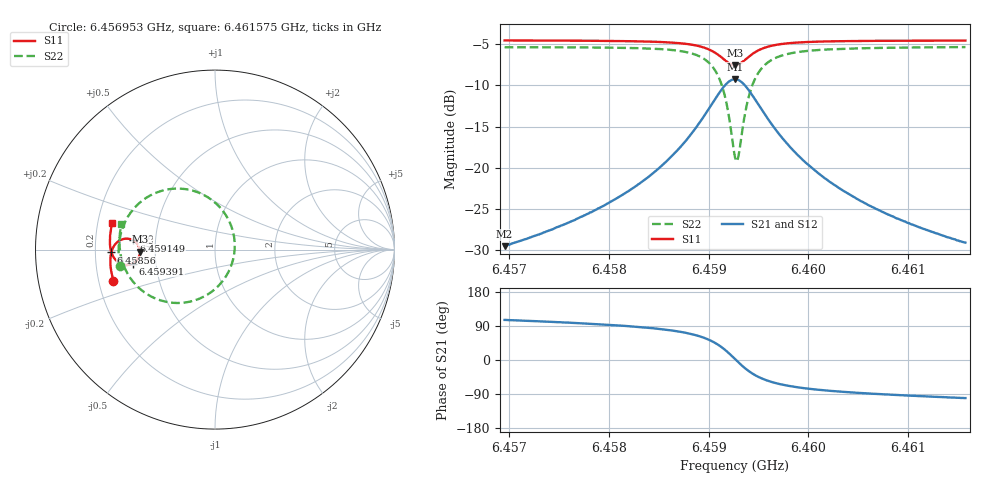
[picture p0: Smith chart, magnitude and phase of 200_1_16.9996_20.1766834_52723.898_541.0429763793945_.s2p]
#  HZ  S  RI  R  50.00
! Rohde & Schwarz Vector Network Analyzer
! Rohde-Schwarz,ZNB20-2Port,1311601062101988,3.16
! Created: UTC 3/20/2024, 11:01:01 PM
! freq[Hz]  re:S11  im:S11  re:S21  im:S21  re:S12  im:S12  re:S22  im:S22
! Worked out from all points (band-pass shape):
!   401 points, 6.456953 GHz to 6.461575 GHz, reference 50 ohm
!   highest |S21| = -9.26 dB at 6.459264 GHz (marker M1); lowest = -29.5 dB at 6.456953 GHz (marker M2)
!   |S21| within 3 dB of the highest: 6.459033 GHz to 6.459495 GHz (461.9 kHz wide, 0.00715 % of centre)
!   lowest |S11| = -7.6 dB at 6.459264 GHz (marker M3), VSWR 2.44, Z = 20.5 - j0.601 ohm
!   |S11| at or under -10 dB: nowhere
!   |S22| runs from -19.2 to -5.4 dB; largest |S21 - S12| = 0.013
!   S11 on the Smith chart (normalised r, x): 6.456953 GHz: 0.26, -0.14; 6.45856 GHz: 0.27, -0.01; 6.459149 GHz: 0.37, +0.05; 6.459391 GHz: 0.37, -0.07; 6.461575 GHz: 0.26, +0.12
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6.4569534e9  -0.5657 -0.1752  -0.00907 0.0322  -0.00743 0.0323  -0.531 -0.0897
6.4577276e9  -0.5801 -0.1075  -0.00605 0.0501  -0.0034 0.0496  -0.5372 0.000568
6.4581667e9  -0.5832 -0.0636  6.82e-05 0.0704  0.00341 0.069  -0.5291 0.0702
6.4585017e9  -0.5797 -0.0235  0.0135 0.0985  0.0175 0.0957  -0.5048 0.1459
6.4585595e9  -0.5779 -0.0156  0.0179 0.1054  0.0219 0.1023  -0.4968 0.1624
6.4587675e9  -0.5651 0.0167  0.045 0.1377  0.0492 0.133  -0.446 0.2354
6.4589177e9  -0.5425 0.0431  0.0902 0.1685  0.0934 0.162  -0.3632 0.3003
6.4590564e9  -0.4988 0.0608  0.1771 0.1855  0.178 0.1782  -0.2044 0.34
6.4591488e9  -0.4543 0.0507  0.2671 0.1547  0.2671 0.1488  -0.0384 0.2905
6.4592181e9  -0.4251 0.0188  0.3274 0.0832  0.3296 0.0778  0.0774 0.1621
6.4592643e9  -0.4182 -0.0121  0.344 0.0155  0.3476 0.00861  0.1099 0.0357
6.4592759e9  -0.4186 -0.0201  0.3438 -0.00223  0.3478 -0.00975  0.1097 0.00223
6.459299e9  -0.4221 -0.0357  0.3385 -0.0368  0.3424 -0.0458  0.0988 -0.0633
6.4593452e9  -0.4376 -0.0617  0.3102 -0.0968  0.3124 -0.1084  0.0419 -0.1762
6.4593914e9  -0.4596 -0.0779  0.2685 -0.1376  0.2676 -0.1506  -0.0425 -0.2509
6.4594839e9  -0.5028 -0.0848  0.1841 -0.1689  0.1781 -0.1803  -0.2103 -0.2975
6.4596341e9  -0.5466 -0.0645  0.0965 -0.1556  0.0882 -0.1616  -0.3772 -0.2489
6.4597959e9  -0.5682 -0.0368  0.0518 -0.1279  0.0443 -0.1307  -0.4576 -0.1776
6.4600385e9  -0.581 -0.00137  0.0226 -0.0967  0.0169 -0.0973  -0.5058 -0.0956
6.4603851e9  -0.5856 0.0397  0.00646 -0.0701  0.00254 -0.0696  -0.5275 -0.0167
6.4608127e9  -0.5839 0.0826  -0.00122 -0.0517  -0.00404 -0.0508  -0.5321 0.0513
6.4615753e9  -0.5717 0.1501  -0.00637 -0.0345  -0.00805 -0.0335  -0.5211 0.1412
